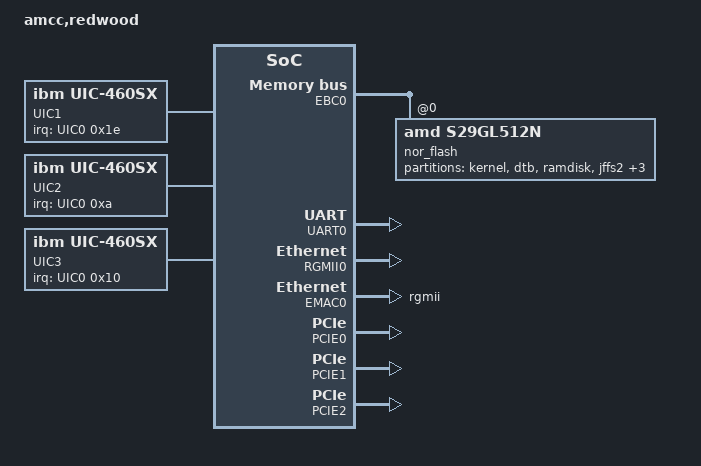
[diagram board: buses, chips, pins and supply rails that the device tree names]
/*
 * Device Tree Source for AMCC Redwood(460SX)
 *
 * Copyright 2008 AMCC <tmarri@amcc.com>
 *
 * This file is licensed under the terms of the GNU General Public
 * License version 2.  This program is licensed "as is" without
 * any warranty of any kind, whether express or implied.
 */

/dts-v1/;

/ {
	#address-cells = <2>;
	#size-cells = <1>;
	model = "amcc,redwood";
	compatible = "amcc,redwood";
	dcr-parent = <&{/cpus/cpu@0}>;

	aliases {
		ethernet0 = &EMAC0;
		serial0 = &UART0;
	};

	cpus {
		#address-cells = <1>;
		#size-cells = <0>;

		cpu@0 {
			device_type = "cpu";
			model = "PowerPC,460SX";
			reg = <0x00000000>;
			clock-frequency = <0>; /* Filled in by U-Boot */
			timebase-frequency = <0>; /* Filled in by U-Boot */
			i-cache-line-size = <32>;
			d-cache-line-size = <32>;
			i-cache-size = <32768>;
			d-cache-size = <32768>;
			dcr-controller;
			dcr-access-method = "native";
		};
	};

	memory {
		device_type = "memory";
		reg = <0x00000000 0x00000000 0x00000000>; /* Filled in by U-Boot */
	};

	UIC0: interrupt-controller0 {
		compatible = "ibm,uic-460sx","ibm,uic";
		interrupt-controller;
		cell-index = <0>;
		dcr-reg = <0x0c0 0x009>;
		#address-cells = <0>;
		#size-cells = <0>;
		#interrupt-cells = <2>;
	};

	UIC1: interrupt-controller1 {
		compatible = "ibm,uic-460sx","ibm,uic";
		interrupt-controller;
		cell-index = <1>;
		dcr-reg = <0x0d0 0x009>;
		#address-cells = <0>;
		#size-cells = <0>;
		#interrupt-cells = <2>;
		interrupts = <0x1e 0x4 0x1f 0x4>; /* cascade */
		interrupt-parent = <&UIC0>;
	};

	UIC2: interrupt-controller2 {
		compatible = "ibm,uic-460sx","ibm,uic";
		interrupt-controller;
		cell-index = <2>;
		dcr-reg = <0x0e0 0x009>;
		#address-cells = <0>;
		#size-cells = <0>;
		#interrupt-cells = <2>;
		interrupts = <0xa 0x4 0xb 0x4>; /* cascade */
		interrupt-parent = <&UIC0>;
	};

	UIC3: interrupt-controller3 {
		compatible = "ibm,uic-460sx","ibm,uic";
		interrupt-controller;
		cell-index = <3>;
		dcr-reg = <0x0f0 0x009>;
		#address-cells = <0>;
		#size-cells = <0>;
		#interrupt-cells = <2>;
		interrupts = <0x10 0x4 0x11 0x4>; /* cascade */
		interrupt-parent = <&UIC0>;
	};

	SDR0: sdr {
		compatible = "ibm,sdr-460sx";
		dcr-reg = <0x00e 0x002>;
	};

	CPR0: cpr {
		compatible = "ibm,cpr-460sx";
		dcr-reg = <0x00c 0x002>;
	};

	plb {
		compatible = "ibm,plb-460sx", "ibm,plb4";
		#address-cells = <2>;
		#size-cells = <1>;
		ranges;
		clock-frequency = <0>; /* Filled in by U-Boot */

		SDRAM0: sdram {
			compatible = "ibm,sdram-460sx", "ibm,sdram-405gp";
			dcr-reg = <0x010 0x002>;
		};

		MAL0: mcmal {
			compatible = "ibm,mcmal-460sx", "ibm,mcmal2";
			dcr-reg = <0x180 0x62>;
			num-tx-chans = <4>;
			num-rx-chans = <32>;
			#address-cells = <1>;
			#size-cells = <1>;
			interrupt-parent = <&UIC1>;
			interrupts = <	/*TXEOB*/ 0x6 0x4
					/*RXEOB*/ 0x7 0x4
					/*SERR*/  0x1 0x4
					/*TXDE*/  0x2 0x4
					/*RXDE*/  0x3 0x4
					/*COAL TX0*/ 0x18 0x2
					/*COAL TX1*/ 0x19 0x2
					/*COAL TX2*/ 0x1a 0x2
					/*COAL TX3*/ 0x1b 0x2
					/*COAL RX0*/ 0x1c 0x2
					/*COAL RX1*/ 0x1d 0x2
					/*COAL RX2*/ 0x1e 0x2
					/*COAL RX3*/ 0x1f 0x2>;
		};

		POB0: opb {
			compatible = "ibm,opb-460sx", "ibm,opb";
			#address-cells = <1>;
			#size-cells = <1>;
			ranges = <0xb0000000 0x00000004 0xb0000000 0x50000000>;
			clock-frequency = <0>; /* Filled in by U-Boot */

			EBC0: ebc {
				compatible = "ibm,ebc-460sx", "ibm,ebc";
				dcr-reg = <0x012 0x002>;
				#address-cells = <2>;
				#size-cells = <1>;
				clock-frequency = <0>; /* Filled in by U-Boot */
				/* ranges property is supplied by U-Boot */
				interrupts = <0x6 0x4>;
				interrupt-parent = <&UIC1>;

				nor_flash@0,0 {
					compatible = "amd,s29gl512n", "cfi-flash";
					bank-width = <2>;
					reg = <0x0000000 0x00000000 0x04000000>;
					#address-cells = <1>;
					#size-cells = <1>;
					partition@0 {
						label = "kernel";
						reg = <0x00000000 0x001e0000>;
					};
					partition@1e0000 {
						label = "dtb";
						reg = <0x001e0000 0x00020000>;
					};
					partition@200000 {
						label = "ramdisk";
						reg = <0x00200000 0x01400000>;
					};
					partition@1600000 {
						label = "jffs2";
						reg = <0x01600000 0x00400000>;
					};
					partition@1a00000 {
						label = "user";
						reg = <0x01a00000 0x02560000>;
					};
					partition@3f60000 {
						label = "env";
						reg = <0x03f60000 0x00040000>;
					};
					partition@3fa0000 {
						label = "u-boot";
						reg = <0x03fa0000 0x00060000>;
					};
				};
			};

			UART0: serial@ef600200 {
				device_type = "serial";
				compatible = "ns16550";
				reg = <0xef600200 0x00000008>;
				virtual-reg = <0xef600200>;
				clock-frequency = <0>; /* Filled in by U-Boot */
				current-speed = <0>; /* Filled in by U-Boot */
				interrupt-parent = <&UIC0>;
				interrupts = <0x0 0x4>;
			};

			RGMII0: emac-rgmii@ef600900 {
				compatible = "ibm,rgmii-460sx", "ibm,rgmii";
				reg = <0xef600900 0x00000008>;
			};

			EMAC0: ethernet@ef600a00 {
				device_type = "network";
				compatible = "ibm,emac-460sx", "ibm,emac4";
				interrupt-parent = <&EMAC0>;
				interrupts = <0x0 0x1>;
				#interrupt-cells = <1>;
				#address-cells = <0>;
				#size-cells = <0>;
				interrupt-map = </*Status*/ 0x0 &UIC0 0x13 0x4
						 /*Wake*/   0x1 &UIC2 0x1d 0x4>;
				reg = <0xef600a00 0x00000070>;
				local-mac-address = [000000000000]; /* Filled in by U-Boot */
				mal-device = <&MAL0>;
				mal-tx-channel = <0>;
				mal-rx-channel = <0>;
				cell-index = <0>;
				max-frame-size = <9000>;
				rx-fifo-size = <4096>;
				tx-fifo-size = <2048>;
				rx-fifo-size-gige = <16384>;
				phy-mode = "rgmii";
				phy-map = <0x00000000>;
				rgmii-device = <&RGMII0>;
				rgmii-channel = <0>;
				has-inverted-stacr-oc;
				has-new-stacr-staopc;
			};
		};
		PCIE0: pciex@d00000000 {
			device_type = "pci";
			#interrupt-cells = <1>;
			#size-cells = <2>;
			#address-cells = <3>;
			compatible = "ibm,plb-pciex-460sx", "ibm,plb-pciex";
			primary;
			port = <0x0>; /* port number */
			reg = <0x0000000d 0x00000000 0x20000000	/* Config space access */
			       0x0000000c 0x10000000 0x00001000>;	/* Registers */
			dcr-reg = <0x100 0x020>;
			sdr-base = <0x300>;

			/* Outbound ranges, one memory and one IO,
			 * later cannot be changed
			 */
			ranges = <0x02000000 0x00000000 0x80000000 0x0000000e 0x00000000 0x00000000 0x80000000
				  0x01000000 0x00000000 0x00000000 0x0000000f 0x80000000 0x00000000 0x00010000>;

			/* Inbound 2GB range starting at 0 */
			dma-ranges = <0x42000000 0x0 0x0 0x0 0x0 0x0 0x80000000>;

			/* This drives busses 10 to 0x1f */
			bus-range = <0x10 0x1f>;

			/* Legacy interrupts (note the weird polarity, the bridge seems
			 * to invert PCIe legacy interrupts).
			 * We are de-swizzling here because the numbers are actually for
			 * port of the root complex virtual P2P bridge. But I want
			 * to avoid putting a node for it in the tree, so the numbers
			 * below are basically de-swizzled numbers.
			 * The real slot is on idsel 0, so the swizzling is 1:1
			 */
			interrupt-map-mask = <0x0 0x0 0x0 0x7>;
			interrupt-map = <
				0x0 0x0 0x0 0x1 &UIC3 0x0 0x4 /* swizzled int A */
				0x0 0x0 0x0 0x2 &UIC3 0x1 0x4 /* swizzled int B */
				0x0 0x0 0x0 0x3 &UIC3 0x2 0x4 /* swizzled int C */
				0x0 0x0 0x0 0x4 &UIC3 0x3 0x4 /* swizzled int D */>;
		};

		PCIE1: pciex@d20000000 {
			device_type = "pci";
			#interrupt-cells = <1>;
			#size-cells = <2>;
			#address-cells = <3>;
			compatible = "ibm,plb-pciex-460sx", "ibm,plb-pciex";
			primary;
			port = <0x1>; /* port number */
			reg = <0x0000000d 0x20000000 0x20000000	/* Config space access */
			       0x0000000c 0x10001000 0x00001000>;	/* Registers */
			dcr-reg = <0x120 0x020>;
			sdr-base = <0x340>;

			/* Outbound ranges, one memory and one IO,
			 * later cannot be changed
			 */
			ranges = <0x02000000 0x00000000 0x80000000 0x0000000e 0x80000000 0x00000000 0x80000000
				  0x01000000 0x00000000 0x00000000 0x0000000f 0x80010000 0x00000000 0x00010000>;

			/* Inbound 2GB range starting at 0 */
			dma-ranges = <0x42000000 0x0 0x0 0x0 0x0 0x0 0x80000000>;

			/* This drives busses 10 to 0x1f */
			bus-range = <0x20 0x2f>;

			/* Legacy interrupts (note the weird polarity, the bridge seems
			 * to invert PCIe legacy interrupts).
			 * We are de-swizzling here because the numbers are actually for
			 * port of the root complex virtual P2P bridge. But I want
			 * to avoid putting a node for it in the tree, so the numbers
			 * below are basically de-swizzled numbers.
			 * The real slot is on idsel 0, so the swizzling is 1:1
			 */
			interrupt-map-mask = <0x0 0x0 0x0 0x7>;
			interrupt-map = <
				0x0 0x0 0x0 0x1 &UIC3 0x4 0x4 /* swizzled int A */
				0x0 0x0 0x0 0x2 &UIC3 0x5 0x4 /* swizzled int B */
				0x0 0x0 0x0 0x3 &UIC3 0x6 0x4 /* swizzled int C */
				0x0 0x0 0x0 0x4 &UIC3 0x7 0x4 /* swizzled int D */>;
		};

		PCIE2: pciex@d40000000 {
			device_type = "pci";
			#interrupt-cells = <1>;
			#size-cells = <2>;
			#address-cells = <3>;
			compatible = "ibm,plb-pciex-460sx", "ibm,plb-pciex";
			primary;
			port = <0x2>; /* port number */
			reg = <0x0000000d 0x40000000 0x20000000	/* Config space access */
			       0x0000000c 0x10002000 0x00001000>;	/* Registers */
			dcr-reg = <0x140 0x020>;
			sdr-base = <0x370>;

			/* Outbound ranges, one memory and one IO,
			 * later cannot be changed
			 */
			ranges = <0x02000000 0x00000000 0x80000000 0x0000000f 0x00000000 0x00000000 0x80000000
				  0x01000000 0x00000000 0x00000000 0x0000000f 0x80020000 0x00000000 0x00010000>;

			/* Inbound 2GB range starting at 0 */
			dma-ranges = <0x42000000 0x0 0x0 0x0 0x0 0x0 0x80000000>;

			/* This drives busses 10 to 0x1f */
			bus-range = <0x30 0x3f>;

			/* Legacy interrupts (note the weird polarity, the bridge seems
			 * to invert PCIe legacy interrupts).
			 * We are de-swizzling here because the numbers are actually for
			 * port of the root complex virtual P2P bridge. But I want
			 * to avoid putting a node for it in the tree, so the numbers
			 * below are basically de-swizzled numbers.
			 * The real slot is on idsel 0, so the swizzling is 1:1
			 */
			interrupt-map-mask = <0x0 0x0 0x0 0x7>;
			interrupt-map = <
				0x0 0x0 0x0 0x1 &UIC3 0x8 0x4 /* swizzled int A */
				0x0 0x0 0x0 0x2 &UIC3 0x9 0x4 /* swizzled int B */
				0x0 0x0 0x0 0x3 &UIC3 0xa 0x4 /* swizzled int C */
				0x0 0x0 0x0 0x4 &UIC3 0xb 0x4 /* swizzled int D */>;
		};

		MSI: ppc4xx-msi@400300000 {
				compatible = "amcc,ppc4xx-msi", "ppc4xx-msi";
				reg = < 0x4 0x00300000 0x100
					0x4 0x00300000 0x100>;
				sdr-base = <0x3B0>;
				msi-data = <0x00000000>;
				msi-mask = <0x44440000>;
				interrupt-count = <3>;
				interrupts =<0 1 2 3>;
				interrupt-parent = <&UIC0>;
				#interrupt-cells = <1>;
				#address-cells = <0>;
				#size-cells = <0>;
				interrupt-map = <0 &UIC0 0xC 1
					1 &UIC0 0x0D 1
					2 &UIC0 0x0E 1
					3 &UIC0 0x0F 1>;
		};

	};


	chosen {
		linux,stdout-path = "/plb/opb/serial@ef600200";
	};

};
